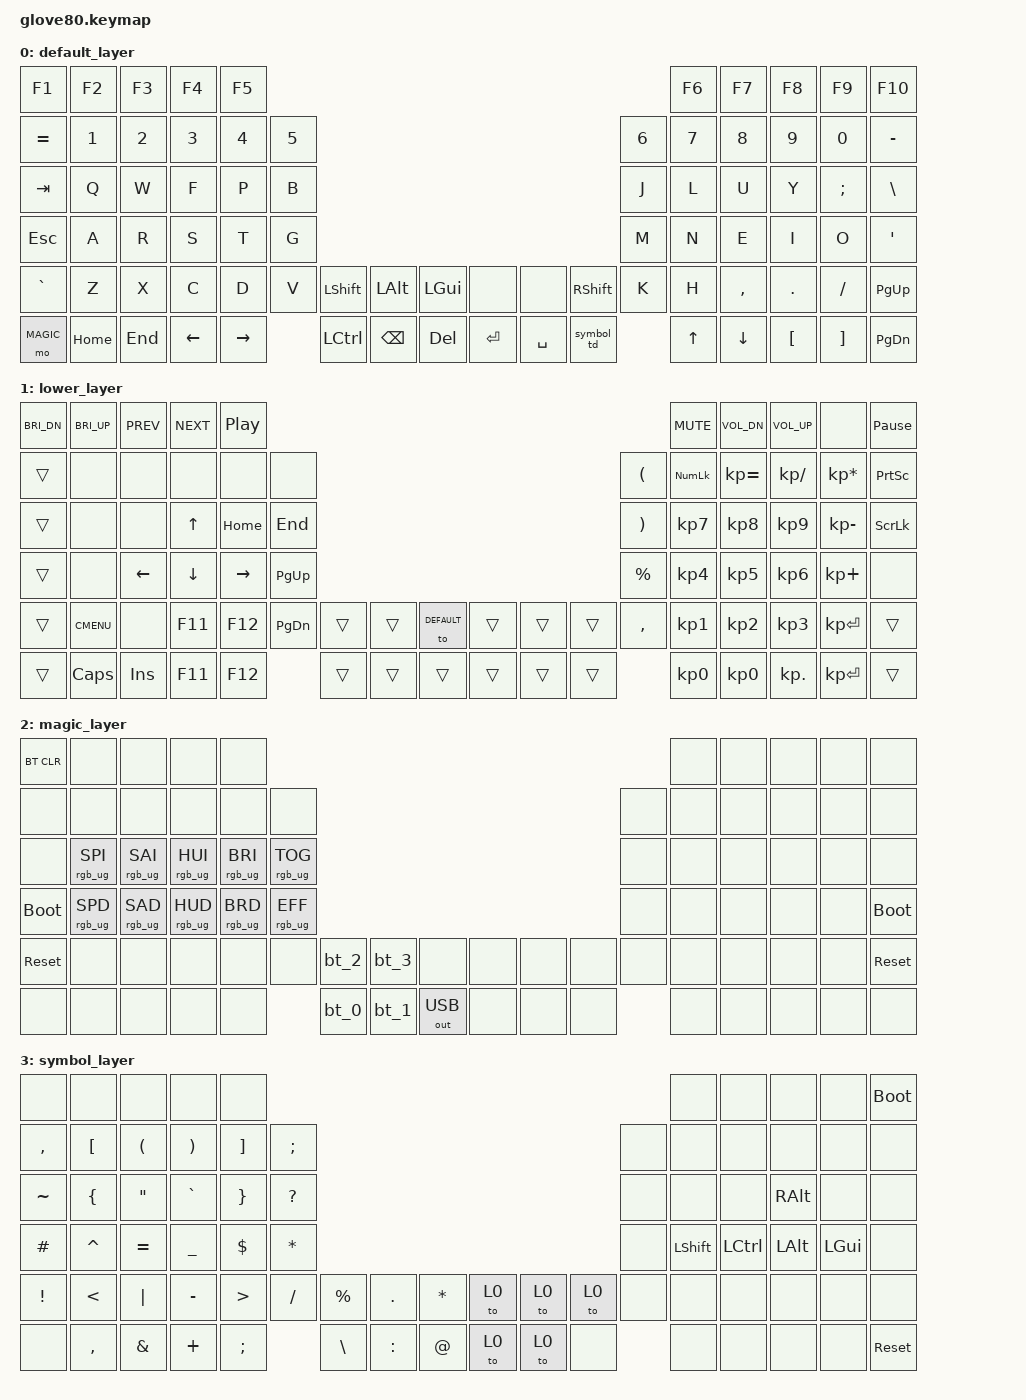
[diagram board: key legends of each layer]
/*
 * Copyright (c) 2020 The ZMK Contributors
 *
 * SPDX-License-Identifier: MIT
 */

#include <behaviors.dtsi>
#include <dt-bindings/zmk/keys.h>
#include <dt-bindings/zmk/bt.h>
#include <dt-bindings/zmk/ext_power.h>
#include <dt-bindings/zmk/outputs.h>
#include <dt-bindings/zmk/rgb.h>

// layers
#define DEFAULT 0
#define LOWER 1
#define MAGIC 2
#define SYMBOL 3

/ {
    behaviors {
        // For the "layer" key, it'd nice to be able to use it as either a shift or a toggle.
        // Configure it as a tap dance, so the first tap (or hold) is a &mo and the second tap is a &to
        symbol_td: tap_dance_0 {
            compatible = "zmk,behavior-tap-dance";
            #binding-cells = <0>;
            tapping-term-ms = <200>;
            bindings = <&mo SYMBOL>, <&to SYMBOL>;
        };
    };

    macros {
        bt_0: bt_profile_macro_0 {
            compatible = "zmk,behavior-macro";
            #binding-cells = <0>;
            bindings
                = <&out OUT_BLE>,
                  <&bt BT_SEL 0>;
        };

        bt_1: bt_profile_macro_1 {
            compatible = "zmk,behavior-macro";
            #binding-cells = <0>;
            bindings
                = <&out OUT_BLE>,
                  <&bt BT_SEL 1>;
        };

        bt_2: bt_profile_macro_2 {
            compatible = "zmk,behavior-macro";
            #binding-cells = <0>;
            bindings
                = <&out OUT_BLE>,
                  <&bt BT_SEL 2>;
        };

        bt_3: bt_profile_macro_3 {
            compatible = "zmk,behavior-macro";
            #binding-cells = <0>;
            bindings
                = <&out OUT_BLE>,
                  <&bt BT_SEL 3>;
        };
    };

    keymap {
        compatible = "zmk,keymap";

        default_layer {
            // ---------------------------------------------------------------------------------------------------------------------------------
            // |  F1   |  F2 |  F3 |  F4  |  F5  |                                                               |  F6   |  F7   |  F8  |   F9  |  F10 |
            // |  =    |  1  |  2  |  3   |  4   |  5   |                                                 |  6   |   7   |   8   |  9   |   0   |   -  |
            // |  TAB  |  Q  |  W  |  E   |  R   |  T   |                                                 |  Y   |   U   |   I   |  O   |   P   |   \  |
            // |  ESC  |  A  |  S  |  D   |  F   |  G   |                                                 |  H   |   J   |   K   |  L   |   ;   |   '  |
            // |   `   |  Z  |  X  |  C   |  V   |  B   | LSHFT | LCTRL | LOWER | | LGUI  | RCTRL | RSHFT |  N   |   M   |   ,   |  .   |   /   | PGUP |
            // | MAGIC | HOME| END | LEFT | RIGHT|      | BSPC  | DEL   | LALT  | | RALT  | RET   | SPACE |      |  UP   | DOWN  |  [   |   ]   | PGDN |

            bindings = <
            &kp F1        &kp F2   &kp F3    &kp F4      &kp F5                                                                                   &kp F6    &kp F7      &kp F8      &kp F9      &kp F10
            &kp EQUAL     &kp N1   &kp N2    &kp N3      &kp N4     &kp N5                                                                &kp N6  &kp N7    &kp N8      &kp N9      &kp N0      &kp MINUS
            &kp TAB       &kp Q    &kp W     &kp F       &kp P      &kp B                                                                 &kp J   &kp L     &kp U       &kp Y       &kp SEMI    &kp BSLH
            &kp ESC       &kp A    &kp R     &kp S       &kp T      &kp G                                                                 &kp M   &kp N     &kp E       &kp I       &kp O       &kp SQT
            &kp GRAVE     &kp Z    &kp X     &kp C       &kp D      &kp V   &kp LSHFT   &kp LALT  &kp LGUI &none   &none     &kp RSHFT    &kp K   &kp H     &kp COMMA   &kp DOT     &kp FSLH    &kp PG_UP
            &mo MAGIC     &kp HOME &kp END   &kp LEFT    &kp RIGHT          &kp LCTRL   &kp BSPC  &kp DEL  &kp RET &kp SPACE &symbol_td           &kp UP    &kp DOWN    &kp LBKT    &kp RBKT    &kp PG_DN
            >;
        };

        lower_layer {
            bindings = <
            &kp C_BRI_DN      &kp C_BRI_UP        &kp C_PREV      &kp C_NEXT      &kp C_PP                                                                                                           &kp C_MUTE   &kp C_VOL_DN &kp C_VOL_UP  &none           &kp PAUSE_BREAK
            &trans            &none               &none           &none           &none           &none                                                                                 &kp LPAR     &kp KP_NUM   &kp KP_EQUAL &kp KP_DIVIDE &kp KP_MULTIPLY &kp PSCRN
            &trans            &none               &none           &kp UP          &kp HOME        &kp END                                                                               &kp RPAR     &kp KP_N7    &kp KP_N8    &kp KP_N9     &kp KP_MINUS    &kp SLCK
            &trans            &none               &kp LEFT        &kp DOWN        &kp RIGHT       &kp PG_UP                                                                             &kp PRCNT    &kp KP_N4    &kp KP_N5    &kp KP_N6     &kp KP_PLUS     &none
            &trans            &kp K_CMENU         &none           &kp F11         &kp F12         &kp PG_DN       &trans      &trans      &to DEFAULT &trans      &trans      &trans    &kp COMMA    &kp KP_N1    &kp KP_N2    &kp KP_N3     &kp KP_ENTER    &trans
            &trans            &kp CAPS            &kp INS         &kp F11         &kp F12                         &trans      &trans      &trans      &trans      &trans      &trans                 &kp KP_N0    &kp KP_N0    &kp KP_DOT    &kp KP_ENTER    &trans
            >;
        };

        magic_layer {
            bindings = <
            &bt BT_CLR        &none               &none           &none           &none                                                                                                           &none      &none      &none      &none      &none
            &none             &none               &none           &none           &none           &none                                                                                &none      &none      &none      &none      &none      &none
            &none             &rgb_ug RGB_SPI     &rgb_ug RGB_SAI &rgb_ug RGB_HUI &rgb_ug RGB_BRI &rgb_ug RGB_TOG                                                                      &none      &none      &none      &none      &none      &none
            &bootloader       &rgb_ug RGB_SPD     &rgb_ug RGB_SAD &rgb_ug RGB_HUD &rgb_ug RGB_BRD &rgb_ug RGB_EFF                                                                      &none      &none      &none      &none      &none      &bootloader
            &sys_reset        &none               &none           &none           &none           &none           &bt_2     &bt_3     &none            &none     &none     &none       &none      &none      &none      &none      &none      &sys_reset
            &none             &none               &none           &none           &none                           &bt_0     &bt_1     &out OUT_USB     &none     &none     &none                  &none      &none      &none      &none      &none
            >;
        };

        symbol_layer {
            bindings = <
            &none     &none     &none     &none     &none                                                                        &none      &none     &none    &none     &bootloader
            &kp COMMA &kp LBKT  &kp LPAR  &kp RPAR  &kp RBKT  &kp SEMI                                                     &none &none      &none     &none     &none    &none
            &kp TILDE &kp LBRC  &kp DQT   &kp GRAVE &kp RBRC  &kp QMARK                                                    &none &none      &none     &kp RALT  &none    &none
            &kp HASH  &kp CARET &kp EQUAL &kp UNDER &kp DLLR  &kp STAR                                                     &none &kp LSHFT  &kp LCTRL &kp LALT  &kp LGUI &none
            &kp EXCL  &kp LT    &kp PIPE  &kp MINUS &kp GT    &kp FSLH  &kp PRCNT  &kp DOT   &kp STAR &to 0  &to 0  &to 0  &none &none      &none     &none     &none    &none
            &none     &kp COMMA &kp AMPS  &kp PLUS  &kp SEMI            &kp BSLH   &kp COLON &kp AT   &to 0  &to 0  &none        &none      &none     &none     &none    &sys_reset
            >;
        };
    };
};

